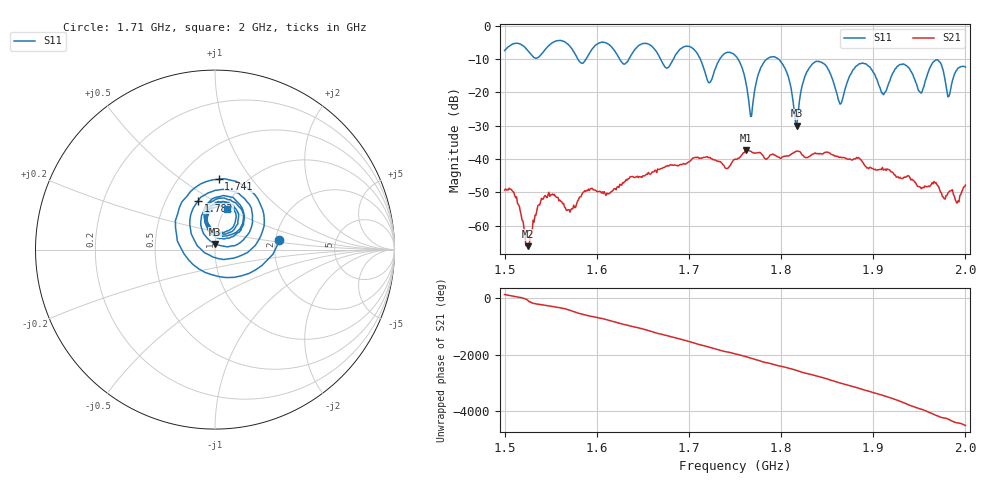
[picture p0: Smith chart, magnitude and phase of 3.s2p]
! NanoVNA-App by SYSJOINT et al v1.1.209 (+OD18)
! Date: 2026-01-21 14:25:59
! Start: 1,5GHz Stop: 2GHz Points: 501
! S-Parameter data: F S11 S21 S12 S22
# Hz S RI R 50
!  Frequency  S11_Real  S11_Imag  S21_Real  S21_Imag  S12_Real  S12_Imag  S22_Real  S22_Imag
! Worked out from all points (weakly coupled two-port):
!   501 points, 1.5 GHz to 2 GHz, reference 50 ohm
!   highest |S21| = -37.39 dB at 1.762 GHz (marker M1); lowest = -66.2 dB at 1.525 GHz (marker M2)
!   lowest |S11| = -30.0 dB at 1.817 GHz (marker M3), VSWR 1.07, Z = 50.1 + j3.16 ohm
!   |S11| at or under -10 dB: 1.712 GHz to 1.734 GHz (21.34 MHz wide, 1.24 % of centre); 1.753 GHz to 1.785 GHz (31.7 MHz wide, 1.79 % of centre); 1.797 GHz to end of sweep (the widest 3 of 6)
!   S12 and S22 are empty: the file has one direction only
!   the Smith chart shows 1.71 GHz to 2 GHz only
!   S11 on the Smith chart (normalised r, x): 1.71 GHz: 2.10, +0.25; 1.741 GHz: 0.76, +0.70; 1.782 GHz: 0.72, +0.43; 2 GHz: 1.02, +0.49
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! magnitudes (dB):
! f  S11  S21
! 1.5 GHz  -7.5  -49.4
! 1.525 GHz  -7.4  -66.2
! 1.542 GHz  -8.0  -52.0
! 1.584 GHz  -11.3  -50.6
! 1.667 GHz  -8.9  -43.2
! 1.71 GHz  -8.8  -39.6
! 1.722 GHz  -17.2  -39.6
! 1.741 GHz  -8.1  -42.8
! 1.75 GHz  -8.9  -40.1
! 1.762 GHz  -17.5  -37.4
! 1.768 GHz  -27.1  -37.9
! 1.782 GHz  -10.8  -39.8
! 1.803 GHz  -12.3  -39.2
! 1.817 GHz  -30.0  -37.6
! 1.834 GHz  -11.5  -38.6
! 1.864 GHz  -23.6  -39.4
! 1.886 GHz  -11.5  -40.1
! 1.917 GHz  -17.2  -43.2
! 1.952 GHz  -20.3  -48.9
! 1.969 GHz  -10.3  -47.7
! 1.982 GHz  -21.3  -50.0
! 2 GHz  -12.5  -47.9
